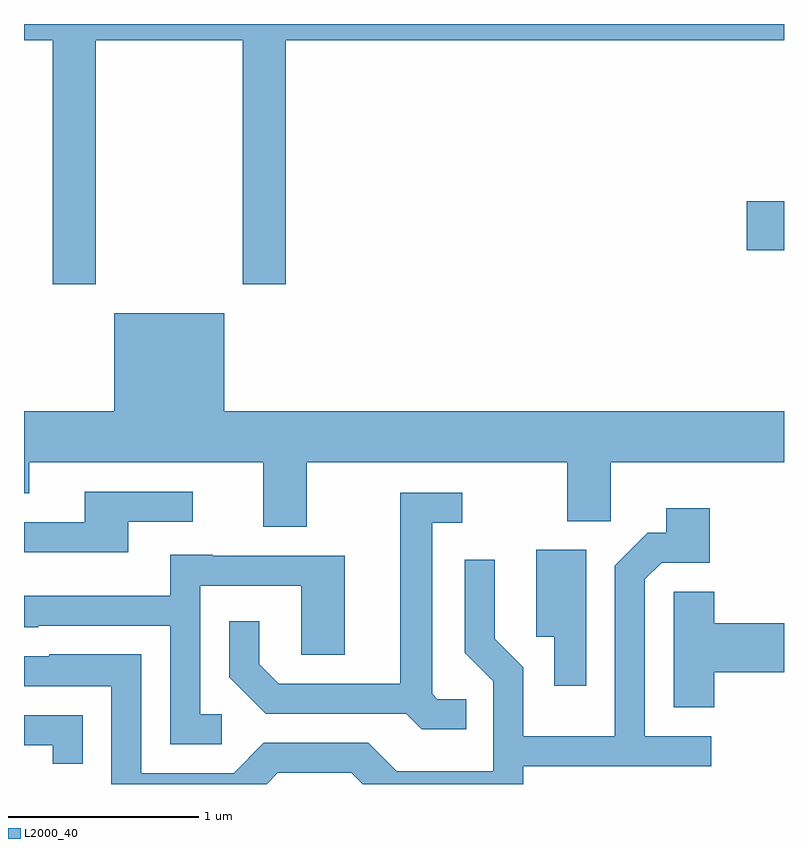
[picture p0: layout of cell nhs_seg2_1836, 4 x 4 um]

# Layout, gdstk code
import gdstk
lib = gdstk.Library(unit=1e-6, precision=1e-09)
def R(c, l, rs):  # rectangles x0, y0, x1, y1
    for r in rs: c.add(gdstk.rectangle(r[:2], r[2:], *l))
def P(c, l, *ps):  # polygons
    for p in ps: c.add(gdstk.Polygon(p, *l))
L2000_40 = (2000, 40)

nhs_seg2_1836 = lib.new_cell('nhs_seg2_1836')
R(nhs_seg2_1836, L2000_40, [(243.416,980.611,243.611,980.869)])
P(nhs_seg2_1836, L2000_40, [(239.989,981.716),(240.761,981.716),(240.761,980.431),(240.989,980.431),(240.989,981.716),(243.611,981.716),(243.611,981.802),(239.611,981.802),(239.611,981.716),(239.761,981.716),(239.761,980.431),(239.989,980.431)],
  [(241.099,979.496),(242.471,979.496),(242.471,979.186),(242.699,979.186),(242.699,979.496),(243.611,979.496),(243.611,979.764),(240.664,979.764),(240.664,980.279),(240.086,980.279),(240.086,979.764),(239.611,979.764),(239.611,979.331),(239.639,979.331),(239.639,979.496),(240.871,979.496),(240.871,979.156),(241.099,979.156)],
  [(240.159,979.181),(240.498,979.181),(240.498,979.339),(239.931,979.339),(239.931,979.179),(239.611,979.179),(239.611,979.021),(240.159,979.021)],
  [(241.938,978.249),(241.787,978.249),(241.759,978.277),(241.759,979.176),(241.918,979.176),(241.918,979.334),(241.591,979.334),(241.591,978.329),(240.952,978.329),(240.849,978.432),(240.849,978.658),(240.691,978.658),(240.691,978.364),(240.884,978.171),(241.624,978.171),(241.704,978.091),(241.938,978.091)],
  [(240.947,977.861),(241.334,977.861),(241.393,977.802),(242.239,977.802),(242.239,977.896),(243.228,977.896),(243.228,978.054),(242.879,978.054),(242.879,978.879),(242.967,978.966),(243.219,978.966),(243.219,979.254),(242.991,979.254),(242.991,979.124),(242.894,979.124),(242.721,978.952),(242.721,978.054),(242.239,978.054),(242.239,978.417),(242.089,978.567),(242.089,978.983),(241.931,978.983),(241.931,978.494),(242.081,978.344),(242.081,977.869),(241.572,977.869),(241.422,978.019),(240.874,978.019),(240.714,977.859),(240.229,977.859),(240.229,978.484),(239.745,978.484),(239.745,978.474),(239.611,978.474),(239.611,978.316),(240.071,978.316),(240.071,977.802),(240.888,977.802)],
  [(242.569,979.034),(242.306,979.034),(242.306,978.576),(242.401,978.576),(242.401,978.318),(242.569,978.318)],
  [(240.653,978.169),(240.539,978.169),(240.539,978.846),(241.071,978.846),(241.071,978.481),(241.299,978.481),(241.299,979.004),(240.605,979.004),(240.605,979.009),(240.381,979.009),(240.381,978.794),(239.611,978.794),(239.611,978.626),(239.685,978.626),(239.685,978.636),(240.381,978.636),(240.381,978.011),(240.653,978.011)],
  [(243.244,978.391),(243.611,978.391),(243.611,978.649),(243.244,978.649),(243.244,978.814),(243.031,978.814),(243.031,978.206),(243.244,978.206)],
  [(239.919,978.164),(239.611,978.164),(239.611,978.006),(239.761,978.006),(239.761,977.908),(239.919,977.908)])

lib.write_gds('nhs_seg2_1836.gds')
